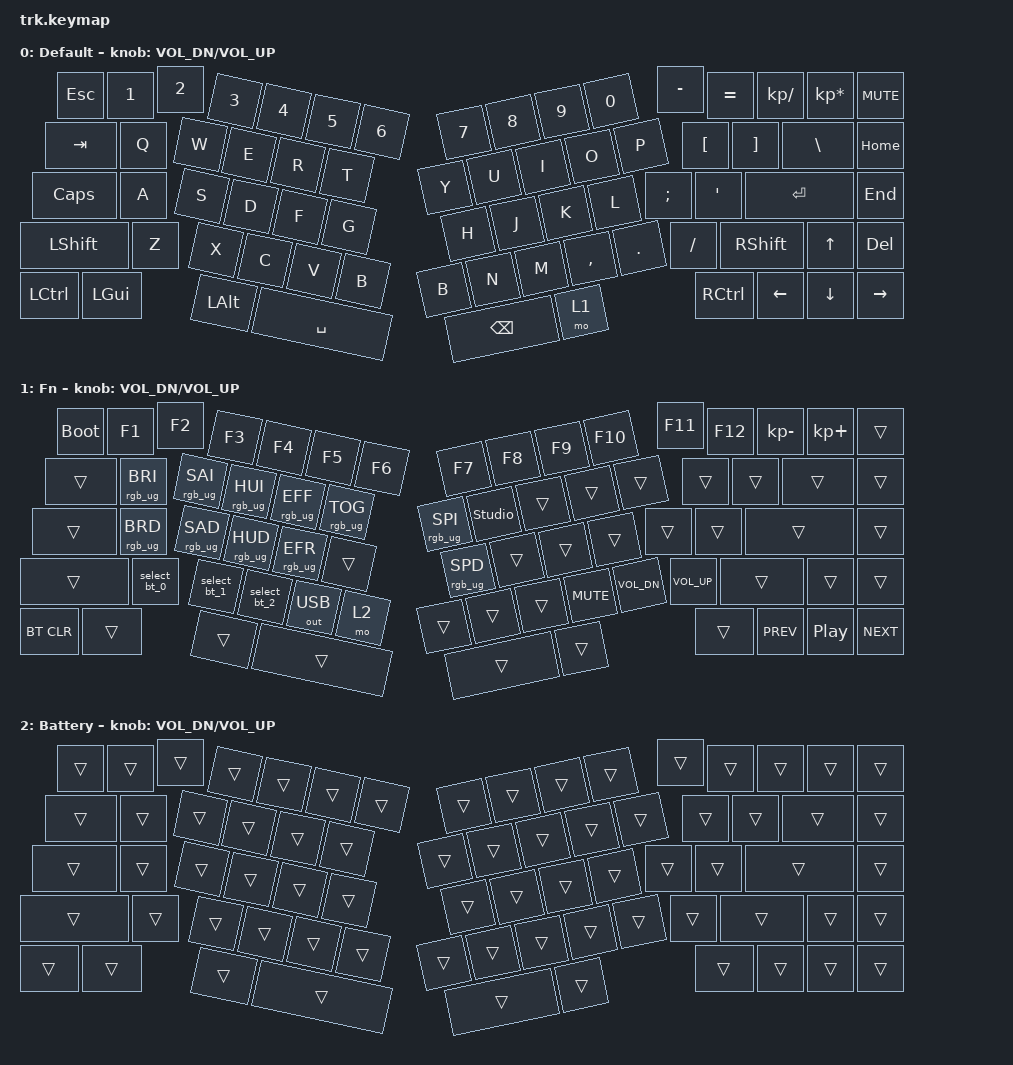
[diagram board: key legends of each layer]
#include <behaviors.dtsi>
#include <dt-bindings/zmk/bt.h>
#include <dt-bindings/zmk/keys.h>
#include <dt-bindings/zmk/rgb.h>
#include <dt-bindings/zmk/outputs.h>

&encoder { status = "okay"; };

/ {

    macros {
        select_bt_0: select_bt_0 {
            compatible = "zmk,behavior-macro";
            #binding-cells = <0>;
            bindings = <&out OUT_BLE &bt BT_SEL 0>;
            label = "SELECT_BT_0";
        };

        select_bt_1: select_bt_1 {
            compatible = "zmk,behavior-macro";
            #binding-cells = <0>;
            bindings = <&out OUT_BLE &bt BT_SEL 1>;
            label = "SELECT_BT_1";
        };

        select_bt_2: select_bt_2 {
            compatible = "zmk,behavior-macro";
            #binding-cells = <0>;
            bindings = <&out OUT_BLE &bt BT_SEL 2>;
            label = "SELECT_BT_2";
        };
    };

    keymap {
        compatible = "zmk,keymap";

        default_layer {
            display-name = "Default";
            bindings = <
				&kp ESC    		&kp N1    		&kp N2    		&kp N3  		&kp N4     		&kp N5  		&kp N6    		&kp N7  	&kp N8     &kp N9   	&kp N0      &kp MINUS  	&kp EQUAL  	&kp KP_DIVIDE  	&kp KP_MULTIPLY
				&kp TAB    		&kp Q     		&kp W     		&kp E   		&kp R      		&kp T   		&kp Y     		&kp U   	&kp I      &kp O    	&kp P       &kp LBKT   	&kp RBKT   	&kp BSLH       	&kp HOME
				&kp CLCK   		&kp A     		&kp S     		&kp D   		&kp F      		&kp G   		&kp H     		&kp J   	&kp K      &kp L    	&kp C_MUTE  &kp SEMI   	&kp SQT    	&kp RET        	&kp END
				&kp LSHFT  		&kp Z     		&kp X     		&kp C   		&kp V      		&kp B   		&kp N     		&kp M   	&kp COMMA  &kp DOT              	&kp FSLH   	&kp RSHFT  	&kp UP         	&kp DEL
				&kp LCTRL  &kp LGUI  &kp LALT  						&kp SPACE  		&kp B   		&kp BSPC        			&mo 1                           	&kp RCTRL  	&kp LEFT   	&kp DOWN       	&kp RIGHT
            >;

            sensor-bindings = <&inc_dec_kp C_VOL_DN C_VOL_UP>;
        };

        bt_layer {
            display-name = "Fn";
            bindings = <
			    &bootloader 	&kp F1          &kp F2          &kp F3          &kp F4          &kp F5			&kp F6         	&kp F7      &kp F8      &kp F9      &kp F10	    &kp F11         &kp F12     &kp KP_MINUS    &kp KP_PLUS
                &trans      	&rgb_ug RGB_BRI &rgb_ug RGB_SAI &rgb_ug RGB_HUI &rgb_ug RGB_EFF &rgb_ug RGB_TOG &rgb_ug RGB_SPI	&studio_unlock 	&trans		&trans		&trans      &trans	        &trans      &trans          &trans
                &trans          &rgb_ug RGB_BRD &rgb_ug RGB_SAD &rgb_ug RGB_HUD &rgb_ug RGB_EFR &trans		    &rgb_ug RGB_SPD &trans		&trans		&trans      &trans	    &trans          &trans      &trans		    &trans
                &trans      	&select_bt_0    &select_bt_1    &select_bt_2    &out OUT_USB     &mo 2		    &trans 		    &trans      &kp C_MUTE	&kp C_VOL_DN       	    &kp C_VOL_UP    &trans      &trans		    &trans
                &bt BT_CLR  	&trans          &trans                          &trans          &trans		    &trans 		           		&trans		                   	    &trans          &kp C_PREV  &kp C_PP        &kp C_NEXT 
            >;

            sensor-bindings = <&inc_dec_kp C_VOL_DN C_VOL_UP>;
        };

        battery_layer {
            display-name = "Battery";
            bindings = <
                &trans &trans &trans &trans &trans &trans &trans &trans &trans &trans &trans &trans &trans &trans &trans
                &trans &trans &trans &trans &trans &trans &trans &trans &trans &trans &trans &trans &trans &trans &trans
                &trans &trans &trans &trans &trans &trans &trans &trans &trans &trans &trans &trans &trans &trans &trans
                &trans &trans &trans &trans &trans &trans &trans &trans &trans &trans &trans &trans &trans &trans
                &trans &trans &trans &trans &trans &trans &trans &trans &trans &trans &trans
            >;

            sensor-bindings = <&inc_dec_kp C_VOL_DN C_VOL_UP>;
        };
    };
};
